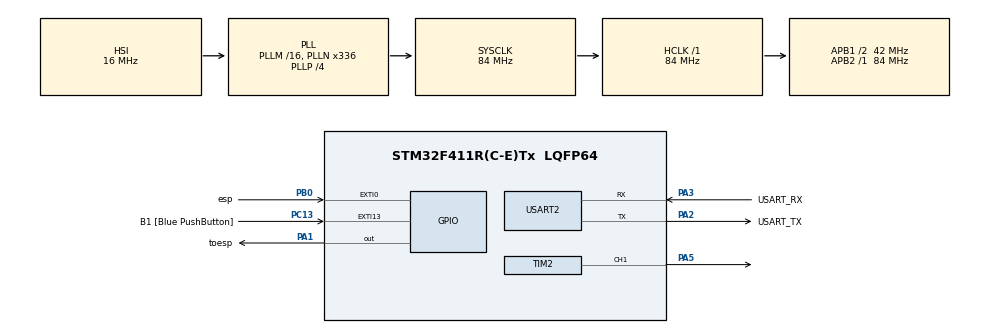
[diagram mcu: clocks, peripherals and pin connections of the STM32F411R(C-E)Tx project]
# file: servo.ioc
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Mcu.Family=STM32F4
PC15-OSC32_OUT.Mode=LSE-External-Oscillator
RCC.CortexFreq_Value=84000000
PC13-ANTI_TAMP.GPIO_Label=B1 [Blue PushButton]
PA14.GPIO_Label=TCK
PH1\ -\ OSC_OUT.Mode=HSE-External-Clock-Source
PB0.GPIO_Label=esp
RCC.APB1CLKDivider=RCC_HCLK_DIV2
PC14-OSC32_IN.Signal=RCC_OSC32_IN
RCC.SYSCLKSource=RCC_SYSCLKSOURCE_PLLCLK
ProjectManager.StackSize=0x400
PA13.Signal=SYS_JTMS-SWDIO
PA3.Mode=Asynchronous
PH0\ -\ OSC_IN.Mode=HSE-External-Clock-Source
PH0\ -\ OSC_IN.Signal=RCC_OSC_IN
ProjectManager.TargetToolchain=STM32CubeIDE
RCC.HCLKFreq_Value=84000000
RCC.APB2TimFreq_Value=84000000
PC15-OSC32_OUT.Signal=RCC_OSC32_OUT
PA1.GPIO_PuPd=GPIO_PULLUP
PA1.Signal=GPIO_Output
RCC.AHBFreq_Value=84000000
NVIC.EXTI15_10_IRQn=true\:2\:0\:true\:false\:true\:true\:true
PA5.Signal=S_TIM2_CH1_ETR
RCC.HSE_VALUE=8000000
PH1\ -\ OSC_OUT.Signal=RCC_OSC_OUT
board=NUCLEO-F411RE
PC13-ANTI_TAMP.Signal=GPXTI13
RCC.VCOOutputFreq_Value=336000000
RCC.APB2Freq_Value=84000000
PC14-OSC32_IN.Mode=LSE-External-Oscillator
PA14.Mode=Serial_Wire
PA1.GPIO_Label=toesp
TIM2.Channel-PWM\ Generation1\ CH1=TIM_CHANNEL_1
TIM2.Period=49999
PA13.Mode=Serial_Wire
Mcu.Name=STM32F411R(C-E)Tx
PA2.Signal=USART2_TX
PA13.GPIO_Label=TMS
RCC.FLatency-AdvancedSettings=FLASH_LATENCY_2
RCC.48MHZClocksFreq_Value=84000000
PB3.Signal=SYS_JTDO-SWO
NVIC.EXTI0_IRQn=true\:1\:0\:true\:false\:true\:true\:true
RCC.SYSCLKFreq_VALUE=84000000
Mcu.Package=LQFP64
TIM2.Prescaler=83
USART2.VirtualMode=VM_ASYNC
PC13-ANTI_TAMP.GPIO_ModeDefaultEXTI=GPIO_MODE_IT_FALLING
PA2.GPIO_Label=USART_TX
SH.S_TIM2_CH1_ETR.0=TIM2_CH1,PWM Generation1 CH1
PA14.Signal=SYS_JTCK-SWCLK
ProjectManager.HeapSize=0x200
PA1.PinState=GPIO_PIN_SET
RCC.HSI_VALUE=16000000
RCC.PLLP=RCC_PLLP_DIV4
NVIC.PriorityGroup=NVIC_PRIORITYGROUP_2
RCC.PLLN=336
RCC.APB1TimFreq_Value=84000000
PA2.Mode=Asynchronous
RCC.APB1Freq_Value=42000000
PB0.Signal=GPXTI0
PB0.GPIO_PuPd=GPIO_PULLDOWN
PA3.GPIO_Label=USART_RX
PA3.Signal=USART2_RX
PA1.GPIO_ModeDefaultOutputPP=GPIO_MODE_OUTPUT_PP
PB3.GPIO_Label=SWO

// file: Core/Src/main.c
/* USER CODE BEGIN Header */
/**
  ******************************************************************************
  * @file           : main.c
  * @brief          : Main program body
  ******************************************************************************
  * @attention
  *
  * <h2><center>&copy; Copyright (c) 2021 STMicroelectronics.
  * All rights reserved.</center></h2>
  *
  * This software component is licensed by ST under BSD 3-Clause license,
  * the "License"; You may not use this file except in compliance with the
  * License. You may obtain a copy of the License at:
  *                        opensource.org/licenses/BSD-3-Clause
  *
  ******************************************************************************
  */
/* USER CODE END Header */
#include "main.h"

TIM_HandleTypeDef htim2;

UART_HandleTypeDef huart2;

/* USER CODE BEGIN PV */
uint32_t servo_min = 355, servo_max = 2685;
uint32_t on = 0, extiflag = 0;
float deg = 0;
/* USER CODE END PV */

void SystemClock_Config(void);
static void MX_GPIO_Init(void);
static void MX_USART2_UART_Init(void);
static void MX_TIM2_Init(void);
/* USER CODE BEGIN PFP */
void setdeg(float angle);
void toggle(float angle);
/* USER CODE END PFP */

int main(void)
{

  /* MCU Configuration--------------------------------------------------------*/

  /* Reset of all peripherals, Initializes the Flash interface and the Systick. */
  HAL_Init();

  /* Configure the system clock */
  SystemClock_Config();

  /* Initialize all configured peripherals */
  MX_GPIO_Init();
  MX_USART2_UART_Init();
  MX_TIM2_Init();
  /* USER CODE BEGIN 2 */
  HAL_TIM_PWM_Start(&htim2, TIM_CHANNEL_1);
  setdeg(0);

  /* USER CODE END 2 */

  /* Infinite loop */
  while (1)
  {

  }
}

void SystemClock_Config(void)
{
  RCC_OscInitTypeDef RCC_OscInitStruct = {0};
  RCC_ClkInitTypeDef RCC_ClkInitStruct = {0};

  /** Configure the main internal regulator output voltage
  */
  __HAL_RCC_PWR_CLK_ENABLE();
  __HAL_PWR_VOLTAGESCALING_CONFIG(PWR_REGULATOR_VOLTAGE_SCALE1);
  /** Initializes the RCC Oscillators according to the specified parameters
  * in the RCC_OscInitTypeDef structure.
  */
  RCC_OscInitStruct.OscillatorType = RCC_OSCILLATORTYPE_HSI;
  RCC_OscInitStruct.HSIState = RCC_HSI_ON;
  RCC_OscInitStruct.HSICalibrationValue = RCC_HSICALIBRATION_DEFAULT;
  RCC_OscInitStruct.PLL.PLLState = RCC_PLL_ON;
  RCC_OscInitStruct.PLL.PLLSource = RCC_PLLSOURCE_HSI;
  RCC_OscInitStruct.PLL.PLLM = 16;
  RCC_OscInitStruct.PLL.PLLN = 336;
  RCC_OscInitStruct.PLL.PLLP = RCC_PLLP_DIV4;
  RCC_OscInitStruct.PLL.PLLQ = 4;
  if (HAL_RCC_OscConfig(&RCC_OscInitStruct) != HAL_OK)
  {
    Error_Handler();
  }
  /** Initializes the CPU, AHB and APB buses clocks
  */
  RCC_ClkInitStruct.ClockType = RCC_CLOCKTYPE_HCLK|RCC_CLOCKTYPE_SYSCLK
                              |RCC_CLOCKTYPE_PCLK1|RCC_CLOCKTYPE_PCLK2;
  RCC_ClkInitStruct.SYSCLKSource = RCC_SYSCLKSOURCE_PLLCLK;
  RCC_ClkInitStruct.AHBCLKDivider = RCC_SYSCLK_DIV1;
  RCC_ClkInitStruct.APB1CLKDivider = RCC_HCLK_DIV2;
  RCC_ClkInitStruct.APB2CLKDivider = RCC_HCLK_DIV1;

  if (HAL_RCC_ClockConfig(&RCC_ClkInitStruct, FLASH_LATENCY_2) != HAL_OK)
  {
    Error_Handler();
  }
}

static void MX_TIM2_Init(void)
{

  TIM_MasterConfigTypeDef sMasterConfig = {0};
  TIM_OC_InitTypeDef sConfigOC = {0};

  htim2.Instance = TIM2;
  htim2.Init.Prescaler = 83;
  htim2.Init.CounterMode = TIM_COUNTERMODE_UP;
  htim2.Init.Period = 49999;
  htim2.Init.ClockDivision = TIM_CLOCKDIVISION_DIV1;
  htim2.Init.AutoReloadPreload = TIM_AUTORELOAD_PRELOAD_DISABLE;
  if (HAL_TIM_PWM_Init(&htim2) != HAL_OK)
  {
    Error_Handler();
  }
  sMasterConfig.MasterOutputTrigger = TIM_TRGO_RESET;
  sMasterConfig.MasterSlaveMode = TIM_MASTERSLAVEMODE_DISABLE;
  if (HAL_TIMEx_MasterConfigSynchronization(&htim2, &sMasterConfig) != HAL_OK)
  {
    Error_Handler();
  }
  sConfigOC.OCMode = TIM_OCMODE_PWM1;
  sConfigOC.Pulse = 0;
  sConfigOC.OCPolarity = TIM_OCPOLARITY_HIGH;
  sConfigOC.OCFastMode = TIM_OCFAST_DISABLE;
  if (HAL_TIM_PWM_ConfigChannel(&htim2, &sConfigOC, TIM_CHANNEL_1) != HAL_OK)
  {
    Error_Handler();
  }
  HAL_TIM_MspPostInit(&htim2);

}

static void MX_USART2_UART_Init(void)
{

  huart2.Instance = USART2;
  huart2.Init.BaudRate = 115200;
  huart2.Init.WordLength = UART_WORDLENGTH_8B;
  huart2.Init.StopBits = UART_STOPBITS_1;
  huart2.Init.Parity = UART_PARITY_NONE;
  huart2.Init.Mode = UART_MODE_TX_RX;
  huart2.Init.HwFlowCtl = UART_HWCONTROL_NONE;
  huart2.Init.OverSampling = UART_OVERSAMPLING_16;
  if (HAL_UART_Init(&huart2) != HAL_OK)
  {
    Error_Handler();
  }

}

static void MX_GPIO_Init(void)
{
  GPIO_InitTypeDef GPIO_InitStruct = {0};

  /* GPIO Ports Clock Enable */
  __HAL_RCC_GPIOC_CLK_ENABLE();
  __HAL_RCC_GPIOH_CLK_ENABLE();
  __HAL_RCC_GPIOA_CLK_ENABLE();
  __HAL_RCC_GPIOB_CLK_ENABLE();

  /*Configure GPIO pin Output Level */
  HAL_GPIO_WritePin(toesp_GPIO_Port, toesp_Pin, GPIO_PIN_SET);

  /*Configure GPIO pin : B1_Pin */
  GPIO_InitStruct.Pin = B1_Pin;
  GPIO_InitStruct.Mode = GPIO_MODE_IT_FALLING;
  GPIO_InitStruct.Pull = GPIO_NOPULL;
  HAL_GPIO_Init(B1_GPIO_Port, &GPIO_InitStruct);

  /*Configure GPIO pin : toesp_Pin */
  GPIO_InitStruct.Pin = toesp_Pin;
  GPIO_InitStruct.Mode = GPIO_MODE_OUTPUT_PP;
  GPIO_InitStruct.Pull = GPIO_PULLUP;
  GPIO_InitStruct.Speed = GPIO_SPEED_FREQ_LOW;
  HAL_GPIO_Init(toesp_GPIO_Port, &GPIO_InitStruct);

  /*Configure GPIO pin : esp_Pin */
  GPIO_InitStruct.Pin = esp_Pin;
  GPIO_InitStruct.Mode = GPIO_MODE_IT_RISING;
  GPIO_InitStruct.Pull = GPIO_PULLDOWN;
  HAL_GPIO_Init(esp_GPIO_Port, &GPIO_InitStruct);

  /* EXTI interrupt init*/
  HAL_NVIC_SetPriority(EXTI0_IRQn, 1, 0);
  HAL_NVIC_EnableIRQ(EXTI0_IRQn);

  HAL_NVIC_SetPriority(EXTI15_10_IRQn, 2, 0);
  HAL_NVIC_EnableIRQ(EXTI15_10_IRQn);

}

/* USER CODE BEGIN 4 */
void HAL_GPIO_EXTI_Callback(uint16_t GPIO_Pin)
{
	if(GPIO_Pin == GPIO_PIN_13){
		if(on){
			setdeg(-20);
			on = 0;
		}else{
			setdeg(20);
			on = 1;
		}
		HAL_GPIO_WritePin(toesp_GPIO_Port, toesp_Pin, GPIO_PIN_RESET);
		HAL_Delay(200);
		HAL_GPIO_WritePin(toesp_GPIO_Port, toesp_Pin, GPIO_PIN_SET);
		setdeg(0);
	}else if(GPIO_Pin == GPIO_PIN_0){
		if(on){
			setdeg(-20);
			on = 0;
		}else{
			setdeg(20);
			on = 1;
		}
		HAL_Delay(200);
		setdeg(0);
	}
}

void setdeg(float angle){
	deg = angle;
	TIM2->CCR1 = 1520 + round(deg*1000/90);
}

void toggle(float angle){
	if(on){
		setdeg(-angle);
		on = 0;
	}else{
		setdeg(angle);
		on = 1;
	}
	HAL_Delay(200);
	setdeg(0);
}
/* USER CODE END 4 */

void Error_Handler(void)
{
  __disable_irq();
  while (1)
  {
  }
}

/************************ (C) COPYRIGHT STMicroelectronics *****END OF FILE****/
